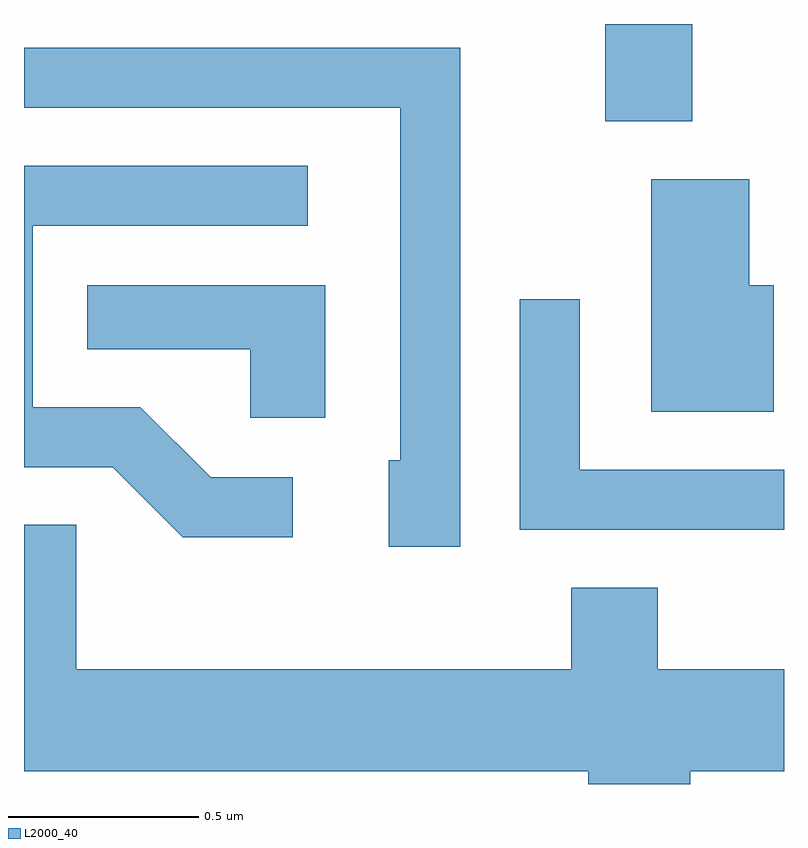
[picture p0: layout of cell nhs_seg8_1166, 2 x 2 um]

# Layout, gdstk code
import gdstk
lib = gdstk.Library(unit=1e-6, precision=1e-09)
def R(c, l, rs):  # rectangles x0, y0, x1, y1
    for r in rs: c.add(gdstk.rectangle(r[:2], r[2:], *l))
def P(c, l, *ps):  # polygons
    for p in ps: c.add(gdstk.Polygon(p, *l))
L2000_40 = (2000, 40)

nhs_seg8_1166 = lib.new_cell('nhs_seg8_1166')
R(nhs_seg8_1166, L2000_40, [(195.141,1878.086,195.369,1878.342)])
P(nhs_seg8_1166, L2000_40, [(194.759,1878.279),(193.611,1878.279),(193.611,1878.121),(194.601,1878.121),(194.601,1877.194),(194.571,1877.194),(194.571,1876.966),(194.759,1876.966)],
  [(194.318,1877.149),(194.102,1877.149),(193.917,1877.334),(193.634,1877.334),(193.634,1877.811),(194.358,1877.811),(194.358,1877.969),(193.611,1877.969),(193.611,1877.176),(193.844,1877.176),(194.029,1876.991),(194.318,1876.991)],
  [(195.584,1877.654),(195.519,1877.654),(195.519,1877.934),(195.261,1877.934),(195.261,1877.321),(195.584,1877.321)],
  [(194.404,1877.654),(193.778,1877.654),(193.778,1877.486),(194.206,1877.486),(194.206,1877.306),(194.404,1877.306)],
  [(195.611,1877.169),(195.074,1877.169),(195.074,1877.618),(194.916,1877.618),(194.916,1877.011),(195.611,1877.011)],
  [(195.364,1876.376),(195.611,1876.376),(195.611,1876.644),(195.279,1876.644),(195.279,1876.859),(195.051,1876.859),(195.051,1876.644),(193.749,1876.644),(193.749,1877.024),(193.611,1877.024),(193.611,1876.376),(195.096,1876.376),(195.096,1876.342),(195.364,1876.342)])

lib.write_gds('nhs_seg8_1166.gds')
